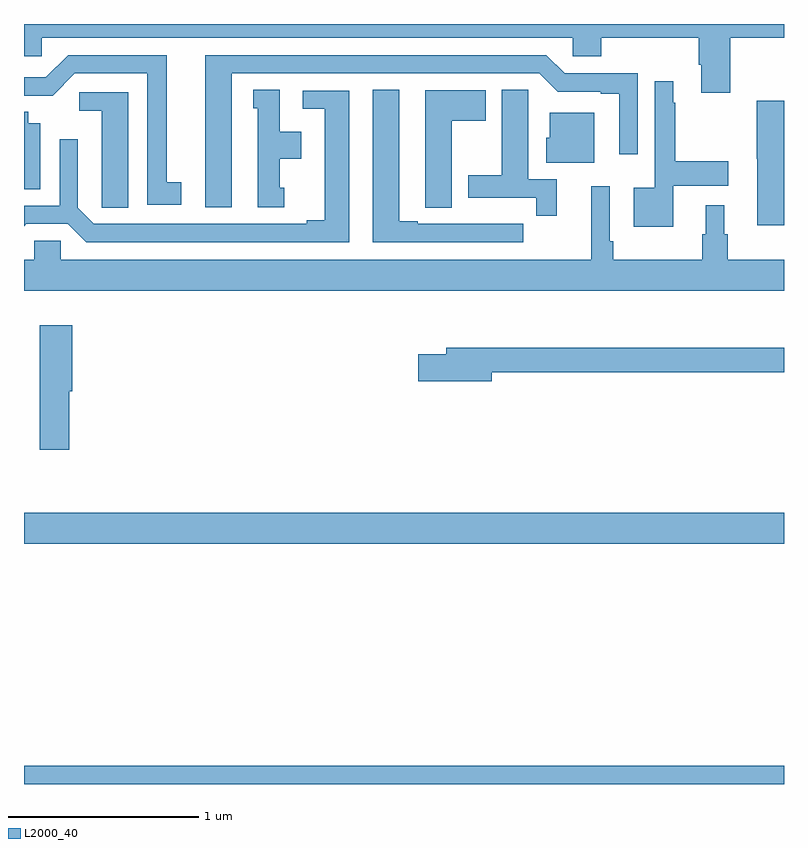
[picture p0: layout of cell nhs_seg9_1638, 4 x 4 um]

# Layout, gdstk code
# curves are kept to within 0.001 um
import gdstk
lib = gdstk.Library(unit=1e-6, precision=1e-09)
def R(c, l, rs):  # rectangles x0, y0, x1, y1
    for r in rs: c.add(gdstk.rectangle(r[:2], r[2:], *l))
def P(c, l, *ps):  # polygons
    for p in ps: c.add(gdstk.Polygon(p, *l))
L2000_40 = (2000, 40)

nhs_seg9_1638 = lib.new_cell('nhs_seg9_1638')
R(nhs_seg9_1638, L2000_40, [(203,1184.5,207,1184.596), (203,1185.764,207,1185.928)])
P(nhs_seg9_1638, L2000_40, [(206.717,1188.428),(207,1188.428),(207,1188.5),(203,1188.5),(203,1188.33),(203.094,1188.33),(203.094,1188.428),(205.887,1188.428),(205.887,1188.33),(206.039,1188.33),(206.039,1188.428),(206.552,1188.428),(206.552,1188.286),(206.564,1188.286),(206.564,1188.138),(206.717,1188.138)],
  [(203.827,1187.666),(203.752,1187.666),(203.752,1188.336),(203.232,1188.336),(203.115,1188.219),(203,1188.219),(203,1188.123),(203.15,1188.122),(203.268,1188.24),(203.648,1188.24),(203.648,1187.55),(203.827,1187.55)],
  [(204.094,1188.24),(205.713,1188.24),(205.809,1188.144),(206.036,1188.144),(206.036,1188.132),(206.132,1188.132),(206.132,1187.814),(206.229,1187.814),(206.229,1188.24),(205.845,1188.24),(205.749,1188.336),(203.954,1188.336),(203.954,1187.535),(204.094,1187.535)],
  [(206.416,1187.648),(206.707,1187.648),(206.707,1187.778),(206.428,1187.778),(206.428,1188.086),(206.416,1188.086),(206.416,1188.199),(206.319,1188.199),(206.319,1187.638),(206.21,1187.638),(206.21,1187.432),(206.416,1187.432)],
  [(204.37,1187.637),(204.346,1187.637),(204.346,1187.792),(204.46,1187.792),(204.46,1187.932),(204.346,1187.932),(204.346,1188.155),(204.206,1188.155),(204.206,1188.057),(204.23,1188.057),(204.23,1187.535),(204.37,1187.535)],
  [(205.627,1187.448),(205.514,1187.448),(205.514,1187.449),(205.348,1187.449),(205.348,1187.448),(205.072,1187.448),(205.072,1187.463),(204.976,1187.463),(204.976,1188.155),(204.836,1188.155),(204.836,1187.352),(205.627,1187.352)],
  [(205.805,1187.682),(205.654,1187.682),(205.654,1188.044),(205.653,1188.044),(205.653,1188.155),(205.514,1188.155),(205.514,1187.703),(205.337,1187.703),(205.337,1187.586),(205.696,1187.586),(205.696,1187.49),(205.805,1187.49)],
  [(205.252,1187.992),(205.429,1187.992),(205.429,1188.151),(205.112,1188.151),(205.112,1187.641),(205.113,1187.641),(205.113,1187.533),(205.252,1187.533)],
  [(204.712,1188.15),(204.468,1188.15),(204.468,1188.054),(204.584,1188.054),(204.584,1187.468),(204.488,1187.468),(204.488,1187.448),(203.367,1187.448),(203.283,1187.532),(203.283,1187.893),(203.187,1187.893),(203.187,1187.544),(203,1187.544),(203,1187.435),(203.013,1187.448),(203.231,1187.448),(203.327,1187.352),(204.712,1187.352)],
  [(203.548,1188.141),(203.292,1188.141),(203.292,1188.044),(203.408,1188.044),(203.408,1187.641),(203.409,1187.641),(203.409,1187.533),(203.548,1187.533)],
  [(207,1188.097),(206.857,1188.097),(206.857,1187.79),(206.858,1187.79),(206.858,1187.442),(207,1187.442)],
  [(203.086,1187.977),(203.023,1187.977),(203.023,1188.038),(203,1188.038),(203,1187.629),(203.086,1187.629)],
  [(206.002,1188.034),(205.766,1188.034),(205.766,1187.901),(205.748,1187.901),(205.748,1187.771),(206.002,1187.771)],
  [(206.588,1187.545),(206.588,1187.394),(206.569,1187.394),(206.569,1187.26),(206.102,1187.26),(206.102,1187.356),(206.082,1187.356),(206.082,1187.647),(205.985,1187.647),(205.985,1187.26),(203.193,1187.26),(203.193,1187.358),(203.055,1187.358),(203.055,1187.26),(203,1187.26),(203,1187.096),(207,1187.096),(207,1187.26),(206.705,1187.26),(206.705,1187.394),(206.686,1187.394),(206.686,1187.545)],
  [(203.237,1186.566),(203.255,1186.566),(203.255,1186.915),(203.084,1186.915),(203.084,1186.566),(203.083,1186.566),(203.083,1186.26),(203.237,1186.26)],
  [(205.462,1186.666),(207,1186.666),(207,1186.795),(205.223,1186.795),(205.223,1186.761),(205.074,1186.761),(205.074,1186.619),(205.462,1186.619)])

lib.write_gds('nhs_seg9_1638.gds')
